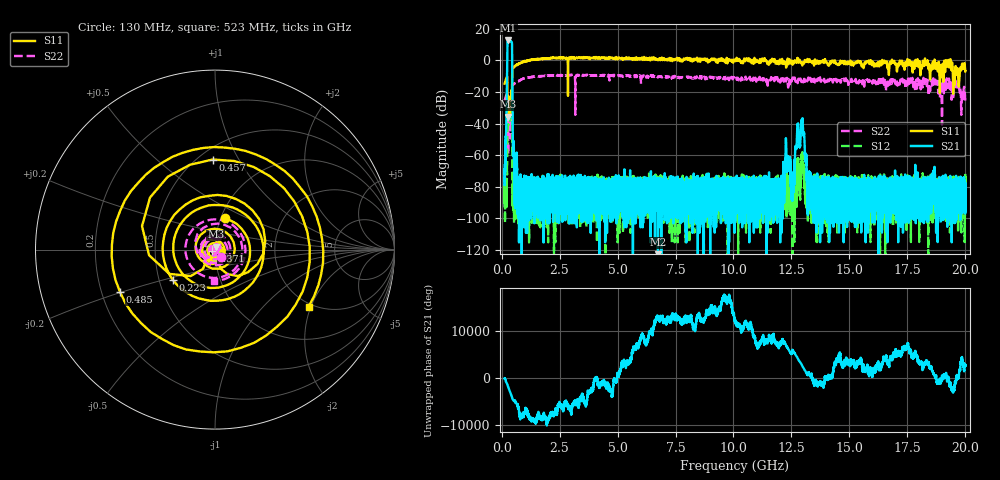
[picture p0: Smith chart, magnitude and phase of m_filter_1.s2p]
!Created with skrf (http://scikit-rf.org).
# GHz S RI R 50.0
!freq ReS11 ImS11 ReS21 ImS21 ReS12 ImS12 ReS22 ImS22
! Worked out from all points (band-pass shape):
!   20013 points, 130 MHz to 20 GHz, reference 50 ohm
!   highest |S21| = 12.48 dB at 283 MHz (marker M1); lowest = -178.5 dB at 6.743 GHz (marker M2)
!   |S21| within 3 dB of the highest: 249.6 MHz to 450.2 MHz (200.6 MHz wide, 57.3 % of centre)
!   lowest |S11| = -35.6 dB at 269 MHz (marker M3), VSWR 1.03, Z = 50.4 + j1.62 ohm
!   |S11| at or under -10 dB: start of sweep to 451.4 MHz; 18.88236 GHz to 18.91035 GHz (27.99 MHz wide, 0.148 % of centre); 19.68721 GHz to 19.74667 GHz (59.46 MHz wide, 0.302 % of centre) (the widest 3 of 9)
!   |S22| runs from -59.4 to -9.1 dB; largest |S21 - S12| = 4.2
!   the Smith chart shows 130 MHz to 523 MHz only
!   S11 on the Smith chart (normalised r, x): 130 MHz: 1.04, +0.38; 223 MHz: 0.59, -0.22; 371 MHz: 0.97, -0.01; 457 MHz: 0.59, +0.79; 485 MHz: 0.28, -0.20; 523 MHz: 1.91, -1.93
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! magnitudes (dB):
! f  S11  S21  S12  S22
! 130 MHz  -14.8  -69.2  -88.9  -25.5
! 223 MHz  -10.8  -24.0  -91.0  -21.3
! 269 MHz  -35.6  12.4  -42.1  -41.8
! 283 MHz  -34.4  12.5  -41.1  -59.4
! 371 MHz  -35.0  12.2  -36.9  -41.4
! 457 MHz  -6.0  -6.5  -52.5  -16.7
! 485 MHz  -4.7  -58.1  -80.2  -15.6
! 523 MHz  -4.3  -51.4  -86.8  -15.2
! 584 MHz  -3.7  -78.9  -88.3  -14.4
! 774 MHz  -2.0  -84.0  -80.8  -12.7
! 3.442 GHz  1.9  -89.1  -76.4  -9.1
! 6.743 GHz  0.0  -178.5  -97.9  -10.8
! 6.754 GHz  0.2  -82.1  -82.0  -10.6
! 10.06 GHz  -0.5  -84.1  -82.5  -11.9
! 12.04 GHz  -1.5  -84.0  -82.0  -12.2
! 12.33 GHz  1.1  -68.2  -75.9  -13.5
! 12.55 GHz  -2.8  -83.0  -85.1  -11.1
! 12.74 GHz  -0.4  -48.8  -72.8  -11.8
! 12.97 GHz  -3.2  -37.7  -59.3  -11.9
! 13.38 GHz  -1.0  -85.0  -82.3  -12.7
! 16.69 GHz  -7.2  -91.6  -87.3  -12.4
! 20 GHz  -6.9  -89.3  -88.9  -24.5
